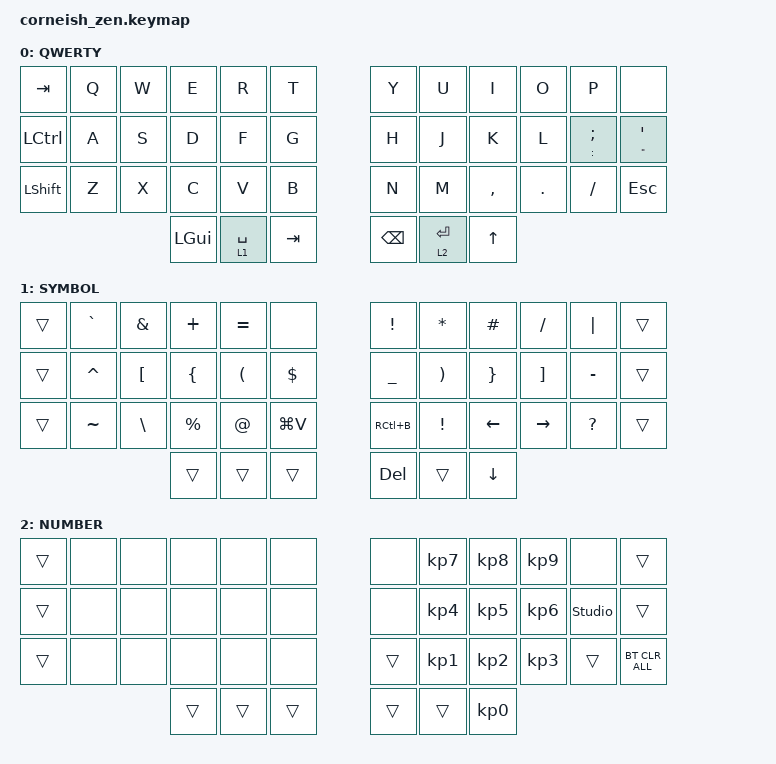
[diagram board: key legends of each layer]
#include <behaviors.dtsi>
#include <dt-bindings/zmk/bt.h>
#include <dt-bindings/zmk/keys.h>

/ {
    chosen {
        zmk,physical-layout = &foostan_corne_6col_layout;

        // zmk,physical-layout = &foostan_corne_5col_layout;
    };
};

/ {
    behaviors {
        hold: hold {
            compatible = "zmk,behavior-hold-tap";
            label = "HOLD";
            bindings = <&kp>, <&kp>;

            #binding-cells = <2>;
            tapping-term-ms = <225>;
        };
    };

    keymap {
        compatible = "zmk,keymap";

        default_layer {
            display-name = "QWERTY";
            bindings = <
&kp TAB    &kp Q  &kp W  &kp E     &kp R        &kp T      &kp Y          &kp U      &kp I         &kp O    &kp P             &none
&kp LCTRL  &kp A  &kp S  &kp D     &kp F        &kp G      &kp H          &kp J      &kp K         &kp L    &hold COLON SEMI  &hold DOUBLE_QUOTES SINGLE_QUOTE
&kp LSHFT  &kp Z  &kp X  &kp C     &kp V        &kp B      &kp N          &kp M      &kp COMMA     &kp DOT  &kp FSLH          &kp ESC
                         &kp LGUI  &lt 1 SPACE  &kp TAB    &kp BACKSPACE  &lt 2 RET  &kp UP_ARROW
            >;
        };

        raise_layer {
            display-name = "SYMBOL";
            bindings = <
&trans  &kp GRAVE  &kp AMPS  &kp PLUS     &kp EQUAL  &none        &kp EXCL   &kp ASTRK  &kp HASH  &kp SLASH  &kp PIPE   &trans
&trans  &kp CARET  &kp LBKT  &kp LBRC     &kp LPAR   &kp DLLR     &kp UNDER  &kp RPAR   &kp RBRC  &kp RBKT   &kp MINUS  &trans
&trans  &kp TILDE  &kp BSLH  &kp PERCENT  &kp AT     &kp LG(V)    &kp RC(B)  &kp EXCL   &kp LEFT  &kp RIGHT  &kp QMARK  &trans
                             &trans       &trans     &trans       &kp DEL    &trans     &kp DOWN
            >;
        };

        lower_layer {
            display-name = "NUMBER";
            bindings = <
&trans  &none  &none  &none   &none   &none     &none   &kp KP_NUMBER_7  &kp KP_NUMBER_8  &kp KP_NUMBER_9  &none           &trans
&trans  &none  &none  &none   &none   &none     &none   &kp KP_NUMBER_4  &kp KP_NUMBER_5  &kp KP_NUMBER_6  &studio_unlock  &trans
&trans  &none  &none  &none   &none   &none     &trans  &kp KP_NUMBER_1  &kp KP_NUMBER_2  &kp KP_N3        &trans          &bt BT_CLR_ALL
                      &trans  &trans  &trans    &trans  &trans           &kp KP_NUMBER_0
            >;
        };
    };
};
